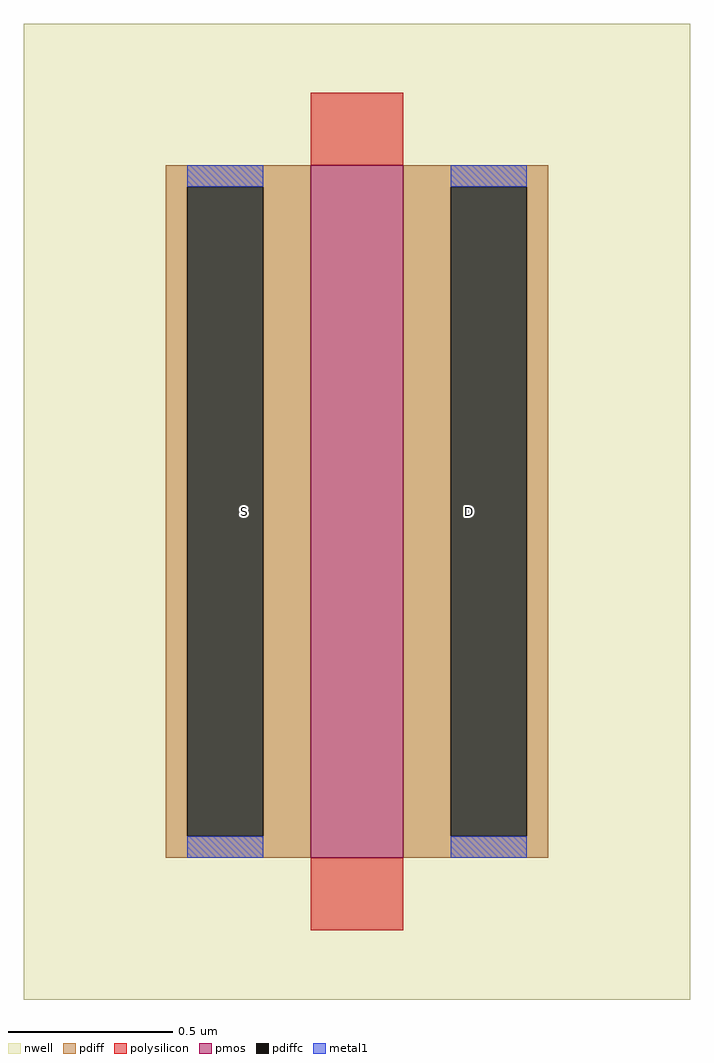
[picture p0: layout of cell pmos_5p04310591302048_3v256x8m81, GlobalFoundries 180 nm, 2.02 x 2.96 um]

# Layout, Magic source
magic
tech gf180mcuD
magscale 1 10
<< nwell >>
rect -174 -86 230 506
<< pmos >>
rect 0 0 56 420
<< pdiff >>
rect -88 407 0 420
rect -88 13 -75 407
rect -29 13 0 407
rect -88 0 0 13
rect 56 407 144 420
rect 56 13 85 407
rect 131 13 144 407
rect 56 0 144 13
<< pdiffc >>
rect -75 13 -29 407
rect 85 13 131 407
<< polysilicon >>
rect 0 420 56 464
rect 0 -44 56 0
<< metal1 >>
rect -75 407 -29 420
rect -75 0 -29 13
rect 85 407 131 420
rect 85 0 131 13
<< labels >>
flabel pdiffc -40 210 -40 210 0 FreeSans 186 0 0 0 S
flabel pdiffc 96 210 96 210 0 FreeSans 186 0 0 0 D
<< end >>
